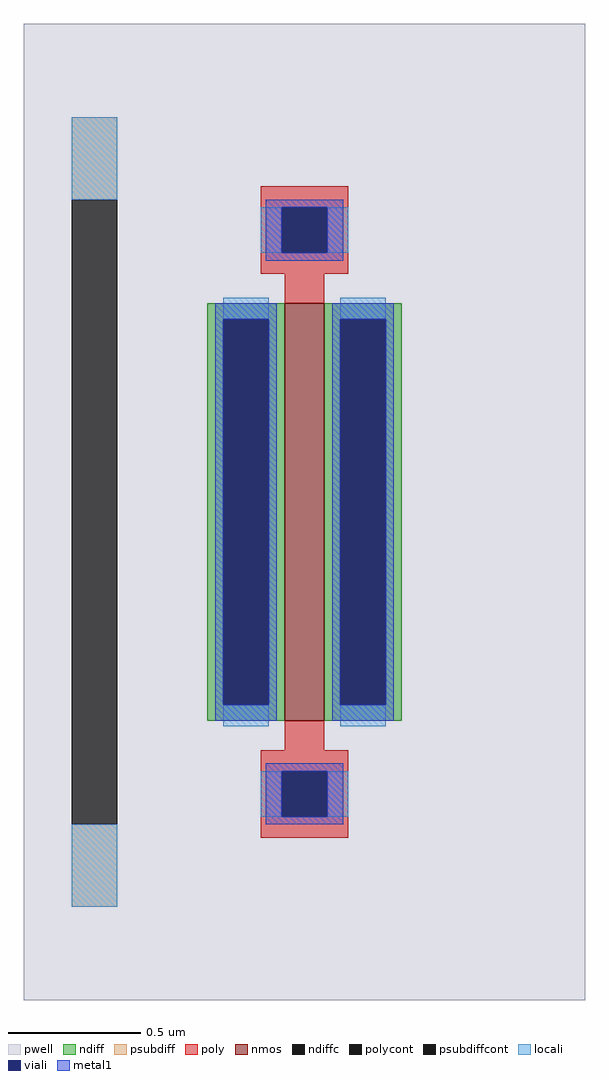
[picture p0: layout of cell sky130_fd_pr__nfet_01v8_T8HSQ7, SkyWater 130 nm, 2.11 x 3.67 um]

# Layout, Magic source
magic
tech sky130A
magscale 1 2
<< pwell >>
rect -211 -367 211 367
<< nmos >>
rect -15 -157 15 157
<< ndiff >>
rect -73 145 -15 157
rect -73 -145 -61 145
rect -27 -145 -15 145
rect -73 -157 -15 -145
rect 15 145 73 157
rect 15 -145 27 145
rect 61 -145 73 145
rect 15 -157 73 -145
<< ndiffc >>
rect -61 -145 -27 145
rect 27 -145 61 145
<< psubdiff >>
rect -175 235 -141 297
rect -175 -297 -141 -235
<< psubdiffcont >>
rect -175 -235 -141 235
<< poly >>
rect -33 229 33 245
rect -33 195 -17 229
rect 17 195 33 229
rect -33 179 33 195
rect -15 157 15 179
rect -15 -179 15 -157
rect -33 -195 33 -179
rect -33 -229 -17 -195
rect 17 -229 33 -195
rect -33 -245 33 -229
<< polycont >>
rect -17 195 17 229
rect -17 -229 17 -195
<< locali >>
rect -175 235 -141 297
rect -33 195 -17 229
rect 17 195 33 229
rect -61 145 -27 161
rect -61 -161 -27 -145
rect 27 145 61 161
rect 27 -161 61 -145
rect -33 -229 -17 -195
rect 17 -229 33 -195
rect -175 -297 -141 -235
<< viali >>
rect -17 195 17 229
rect -61 -145 -27 145
rect 27 -145 61 145
rect -17 -229 17 -195
<< metal1 >>
rect -29 229 29 235
rect -29 195 -17 229
rect 17 195 29 229
rect -29 189 29 195
rect -67 145 -21 157
rect -67 -145 -61 145
rect -27 -145 -21 145
rect -67 -157 -21 -145
rect 21 145 67 157
rect 21 -145 27 145
rect 61 -145 67 145
rect 21 -157 67 -145
rect -29 -195 29 -189
rect -29 -229 -17 -195
rect 17 -229 29 -195
rect -29 -235 29 -229
<< properties >>
string FIXED_BBOX -158 -314 158 314
string gencell sky130_fd_pr__nfet_01v8
string library sky130
string parameters w 1.57 l 0.15 m 1 nf 1 diffcov 100 polycov 100 guard 1 glc 1 grc 1 gtc 1 gbc 1 tbcov 100 rlcov 100 topc 1 botc 1 poverlap 0 doverlap 1 lmin 0.15 wmin 0.42 compatible {sky130_fd_pr__nfet_01v8 sky130_fd_pr__nfet_01v8_lvt  sky130_fd_bs_flash__special_sonosfet_star  sky130_fd_pr__nfet_g5v0d10v5 sky130_fd_pr__nfet_05v0_nvt  sky130_fd_pr__nfet_03v3_nvt} full_metal 1 viasrc 100 viadrn 100 viagate 100 viagb 0 viagr 0 viagl 0 viagt 0
<< end >>
